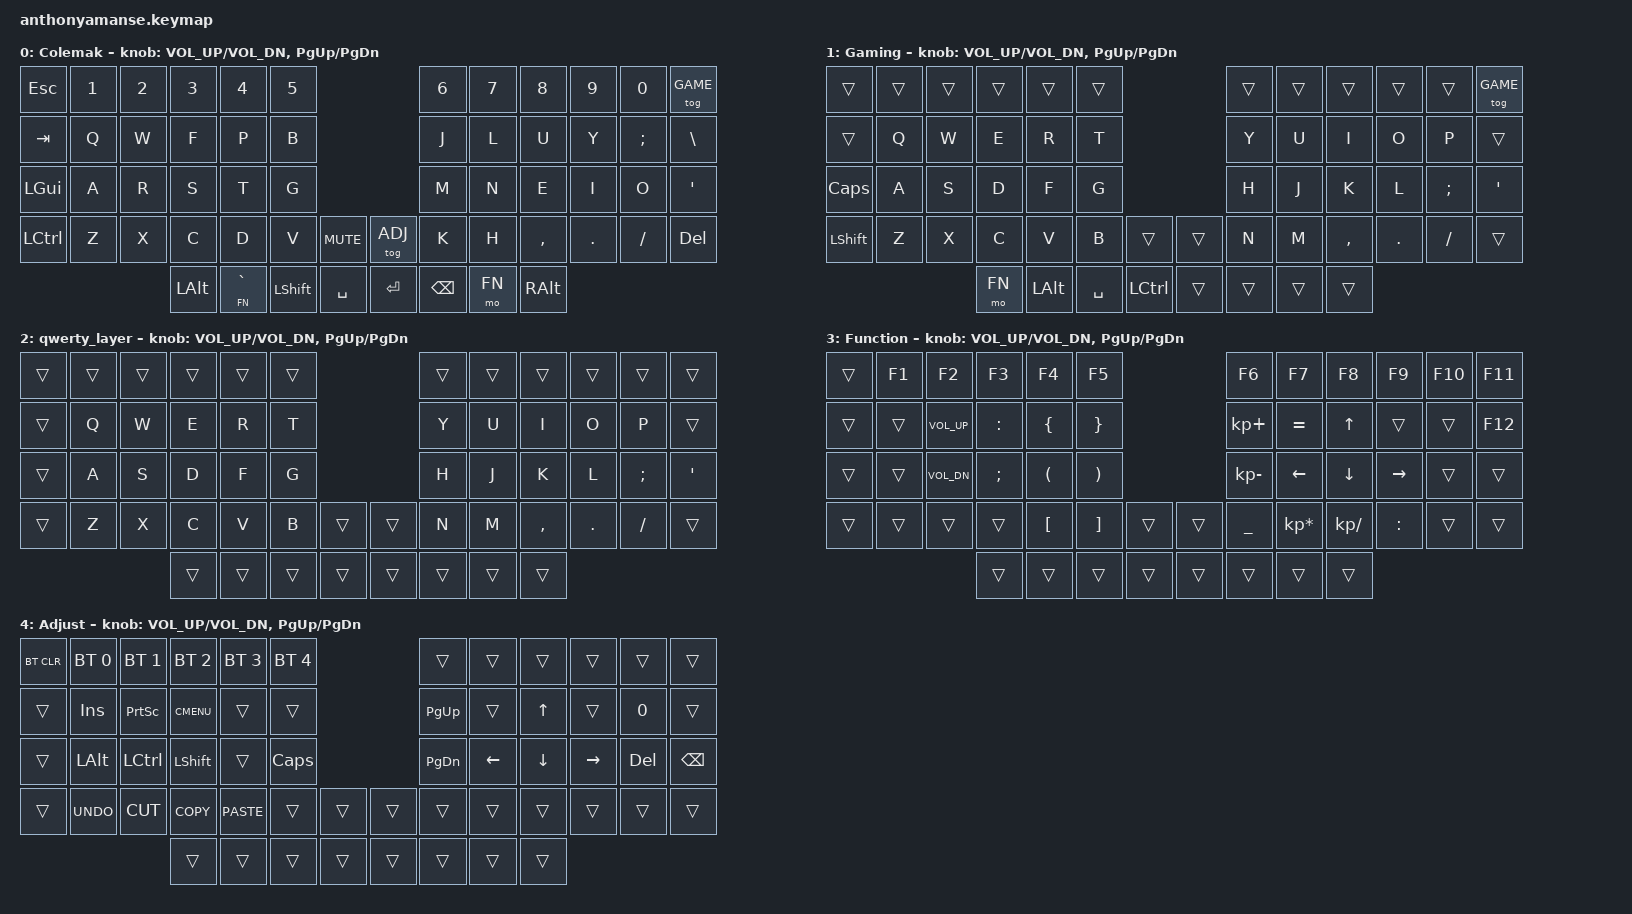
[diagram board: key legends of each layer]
/*
 * Copyright (c) 2021 Anthony Amanse
 *
 * SPDX-License-Identifier: MIT
 */

#include <behaviors.dtsi>
#include <dt-bindings/zmk/keys.h>
#include <dt-bindings/zmk/bt.h>

#define GAME 1
#define QWERTY 2
#define FN 3
#define ADJ 4

/ {
        keymap {
                compatible = "zmk,keymap";

                default_layer {
                        bindings = <
&kp ESC   &kp N1 &kp N2   &kp N3   &kp N4       &kp N5                           &kp N6   &kp N7   &kp N8    &kp N9   &kp N0   &tog GAME
&kp TAB   &kp Q  &kp W    &kp F    &kp P        &kp B                            &kp J    &kp L    &kp U     &kp Y    &kp SEMI &kp BSLH
&kp LGUI  &kp A  &kp R    &kp S    &kp T        &kp G                            &kp M    &kp N    &kp E     &kp I    &kp O    &kp SQT
&kp LCTRL &kp Z  &kp X    &kp C    &kp D        &kp V     &kp C_MUTE    &tog ADJ &kp K    &kp H    &kp COMMA &kp DOT  &kp FSLH &kp DEL
                          &kp LALT &lt FN GRAVE &kp LSHFT &kp SPACE     &kp RET  &kp BSPC &mo FN   &kp RALT
                        >;
                        sensor-bindings = <&inc_dec_kp C_VOL_UP C_VOL_DN &inc_dec_kp PG_UP PG_DN>;
                        label = "Colemak";
                };


                gaming_layer {
                        bindings = <
&trans    &trans &trans   &trans   &trans    &trans                        &trans  &trans    &trans    &trans   &trans   &tog GAME
&trans    &kp Q  &kp W    &kp E    &kp R     &kp T                         &kp Y   &kp U     &kp I     &kp O    &kp P    &trans
&kp CAPS  &kp A  &kp S    &kp D    &kp F     &kp G                         &kp H   &kp J     &kp K     &kp L    &kp SEMI &kp SQT
&kp LSHFT &kp Z  &kp X    &kp C    &kp V     &kp B     &trans    &trans    &kp N   &kp M     &kp COMMA &kp DOT  &kp FSLH &trans
                          &mo FN   &kp LALT  &kp SPACE &kp LCTRL &trans    &trans  &trans    &trans
                        >;
                        sensor-bindings = <&inc_dec_kp C_VOL_UP C_VOL_DN &inc_dec_kp PG_UP PG_DN>;
                        label = "Gaming";
                };
                

                qwerty_layer {
                        bindings = <
&trans &trans &trans   &trans   &trans    &trans                  &trans  &trans    &trans    &trans   &trans   &trans
&trans &kp Q  &kp W    &kp E    &kp R     &kp T                   &kp Y   &kp U     &kp I     &kp O    &kp P    &trans
&trans &kp A  &kp S    &kp D    &kp F     &kp G                   &kp H   &kp J     &kp K     &kp L    &kp SEMI &kp SQT
&trans &kp Z  &kp X    &kp C    &kp V     &kp B   &trans   &trans &kp N   &kp M     &kp COMMA &kp DOT  &kp FSLH &trans
                       &trans   &trans    &trans  &trans   &trans &trans  &trans    &trans
                        >;
                        sensor-bindings = <&inc_dec_kp C_VOL_UP C_VOL_DN &inc_dec_kp PG_UP PG_DN>;
                };

                fn_layer {
                        bindings = <
&trans    &kp F1    &kp F2       &kp F3      &kp F4    &kp F5                     &kp F6       &kp F7           &kp F8        &kp F9    &kp F10   &kp F11
&trans    &trans    &kp C_VOL_UP &kp COLON   &kp LBRC  &kp RBRC                   &kp KP_PLUS  &kp EQUAL        &kp UP        &trans    &trans    &kp F12
&trans    &trans    &kp C_VOL_DN &kp SEMI    &kp LPAR  &kp RPAR                   &kp KP_MINUS &kp LEFT         &kp DOWN      &kp RIGHT &trans    &trans
&trans    &trans    &trans       &trans      &kp LBKT  &kp RBKT  &trans   &trans  &kp UNDER    &kp KP_ASTERISK  &kp KP_SLASH  &kp COLON &trans    &trans
                                 &trans      &trans    &trans    &trans   &trans  &trans       &trans           &trans
                        >;
                        sensor-bindings = <&inc_dec_kp C_VOL_UP C_VOL_DN &inc_dec_kp PG_UP PG_DN>;
                        label = "Function";
                };

                adj_layer {
                        bindings = <
&bt BT_CLR &bt BT_SEL 0 &bt BT_SEL 1 &bt BT_SEL 2 &bt BT_SEL 3 &bt BT_SEL 4                    &trans    &trans    &trans   &trans    &trans  &trans
&trans     &kp INS      &kp PSCRN    &kp K_CMENU  &trans       &trans                          &kp PG_UP &trans    &kp UP   &trans    &kp N0  &trans
&trans     &kp LALT     &kp LCTRL    &kp LSHFT    &trans       &kp CLCK                        &kp PG_DN &kp LEFT  &kp DOWN &kp RIGHT &kp DEL &kp BSPC
&trans     &kp K_UNDO   &kp K_CUT    &kp K_COPY   &kp K_PASTE  &trans        &trans    &trans  &trans    &trans    &trans   &trans    &trans  &trans
                                     &trans       &trans       &trans        &trans    &trans  &trans    &trans    &trans
                        >;
                        sensor-bindings = <&inc_dec_kp C_VOL_UP C_VOL_DN &inc_dec_kp PG_UP PG_DN>;
                        label = "Adjust";
                };
        };
};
